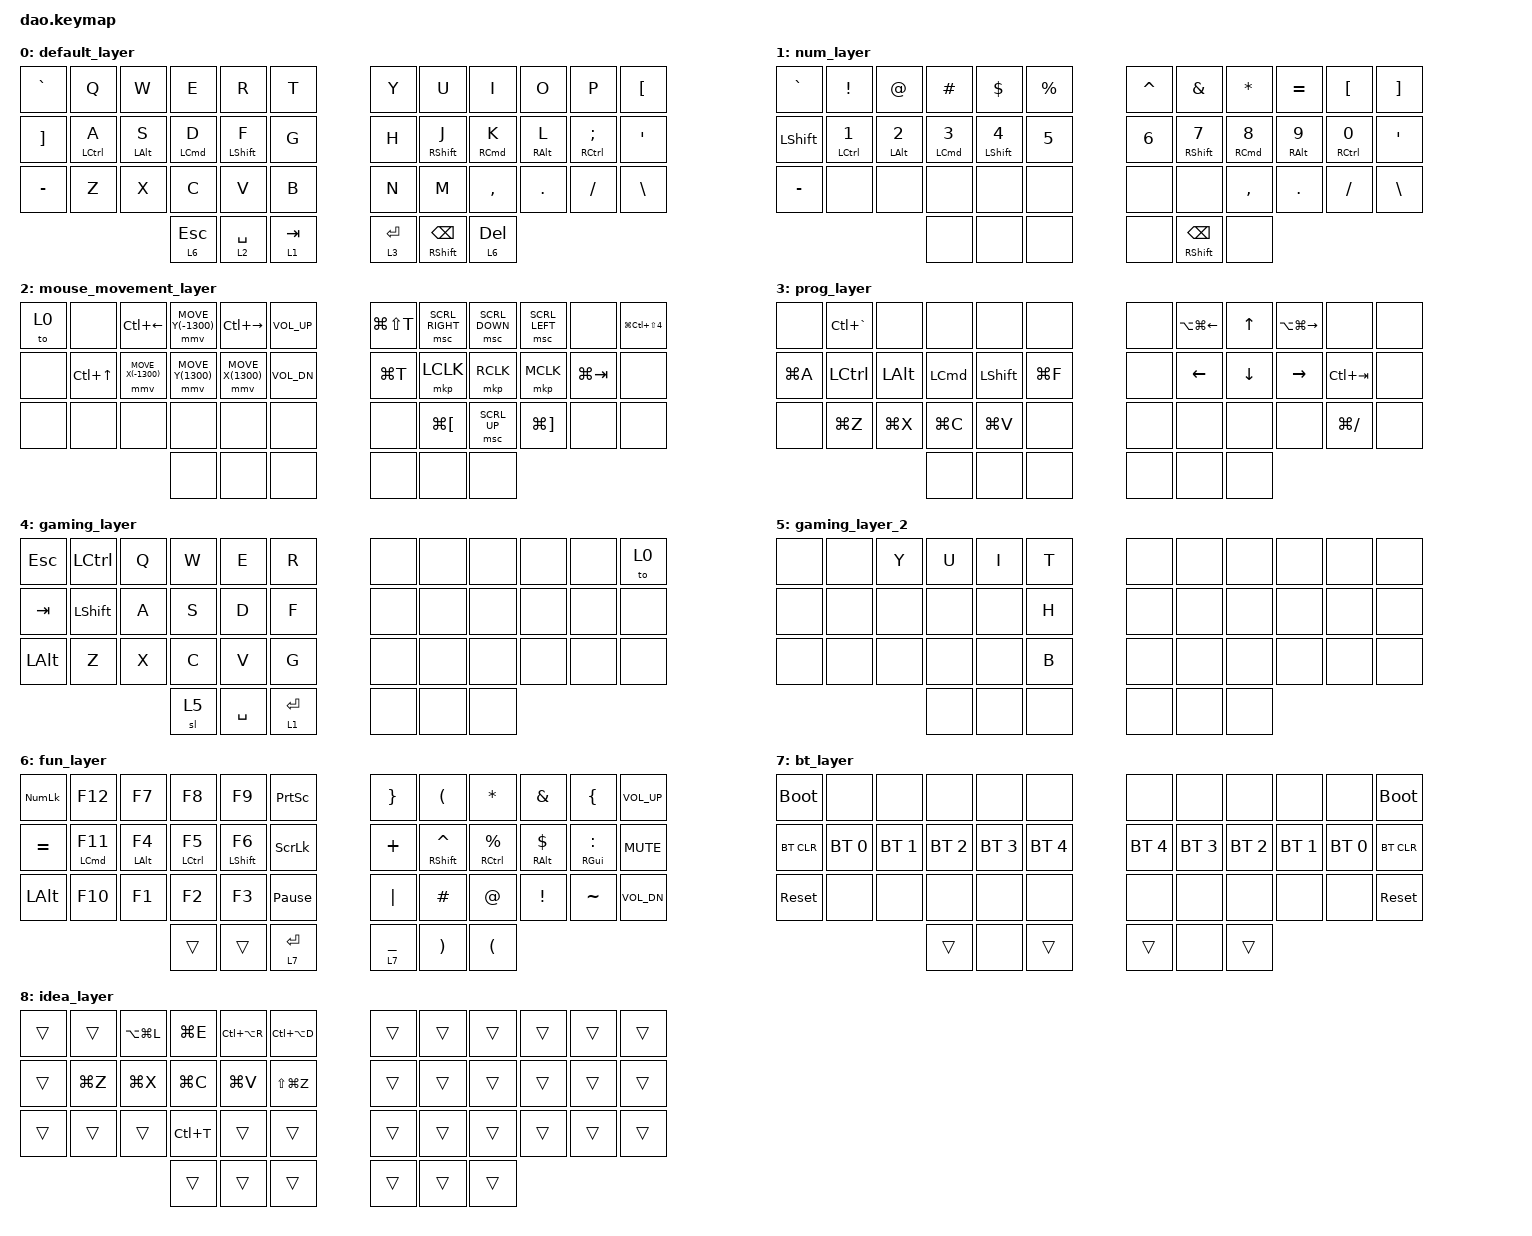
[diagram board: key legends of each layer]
/*
 * Copyright (c) 2021 Rafael Yumagulov
 *
 * SPDX-License-Identifier: MIT
 */

#include <behaviors.dtsi>
#include <dt-bindings/zmk/bt.h>
#include <dt-bindings/zmk/keys.h>
#include <dt-bindings/zmk/pointing.h>

#define DEF 0
#define NUM 1
#define IDEA 2
#define FUN 3
#define BT 4

&lt { quick_tap_ms = <200>; };

&mt {
    quick_tap_ms = <300>;
    flavor = "balanced";
    require-prior-idle-ms = <150>;
    quick-tap-ms = <0>;
};

/ {
    chosen {
        zmk,matrix_transform = &default_transform;

        // zmk,matrix_transform = &extra_keys_transform;
    };
};

/ {
    behaviors {
        td0: tap_dance_0 {
            compatible = "zmk,behavior-tap-dance";
            #binding-cells = <0>;
            tapping-term-ms = <200>;
            bindings = <&mt LSHFT F>, <&dshift>;
        };
    };

    macros {
        dshift: double_shift {
            compatible = "zmk,behavior-macro";
            #binding-cells = <0>;
            bindings = <&macro_tap>, <&kp LSHFT &kp LSHFT>;
        };
    };

    combos {
        compatible = "zmk,combos";

        combo_undo {
            // ZX

            key-positions = <25 26>;
            bindings = <&kp LG(X)>;
        };

        combo_cut {
            // ZC

            key-positions = <25 27>;
            bindings = <&kp LG(Z)>;
        };

        combo_copy {
            // XC

            key-positions = <26 27>;
            bindings = <&kp LG(C)>;
        };

        combo_paste {
            // CV

            key-positions = <27 28>;
            bindings = <&kp LG(V)>;
        };

        combo_alt_backsapce {
            // QW

            key-positions = <1 2>;
            bindings = <&kp LA(BSPC)>;
        };

        combo_backsapce {
            // WE

            key-positions = <2 3>;
            bindings = <&kp BSPC>;
        };

        combo_delete {
            // ER

            key-positions = <3 4>;
            bindings = <&kp DEL>;
        };

        go_to_mouse_layer {
            bindings = <&to 2>;
            key-positions = <0 37>;
        };

        gaming_mode {
            bindings = <&to 4>;
            key-positions = <4 5 6 7>;
        };
    };

    keymap {
        compatible = "zmk,keymap";

        default_layer {
            bindings = <
&kp GRAVE          &kp Q               &kp W       &kp E               &kp R        &kp T      &kp Y      &kp U           &kp I                &kp O       &kp P                   &kp LEFT_BRACKET
&kp RIGHT_BRACKET  &mt LEFT_CONTROL A  &mt LALT S  &mt LEFT_COMMAND D  &mt LSHFT F  &kp G      &kp H      &mt RSHFT J     &mt RIGHT_COMMAND K  &mt RALT L  &mt RIGHT_CONTROL SEMI  &kp APOSTROPHE
&kp MINUS          &kp Z               &kp X       &kp C               &kp V        &kp B      &kp N      &kp M           &kp COMMA            &kp DOT     &kp FSLH                &kp BSLH
                                                   &lt 6 ESC           &lt 2 SPACE  &lt 1 TAB  &lt 3 RET  &mt RSHFT BSPC  &lt 6 DEL
            >;
        };

        num_layer {
            bindings = <
&kp GRAVE       &kp EXCLAMATION            &kp AT_SIGN            &kp HASH                   &kp DOLLAR               &kp PERCENT   &kp CARET     &kp AMPERSAND              &kp ASTERISK                &kp EQUAL               &kp LEFT_BRACKET            &kp RIGHT_BRACKET
&kp LEFT_SHIFT  &mt LEFT_CONTROL NUMBER_1  &mt LEFT_ALT NUMBER_2  &mt LEFT_COMMAND NUMBER_3  &mt LEFT_SHIFT NUMBER_4  &kp NUMBER_5  &kp NUMBER_6  &mt RIGHT_SHIFT NUMBER_7   &mt RIGHT_COMMAND NUMBER_8  &mt RIGHT_ALT NUMBER_9  &mt RIGHT_CONTROL NUMBER_0  &kp APOSTROPHE
&kp MINUS       &none                      &none                  &none                      &none                    &none         &none         &none                      &kp COMMA                   &kp DOT                 &kp SLASH                   &kp BACKSLASH
                                                                  &none                      &none                    &none         &none         &mt RIGHT_SHIFT BACKSPACE  &none
            >;
        };

        mouse_movement_layer {
            bindings = <
&to 0  &none             &kp LC(LEFT_ARROW)  &mmv MOVE_Y(-1300)  &kp LC(RIGHT_ARROW)  &kp C_VOLUME_UP  &kp LG(LS(T))  &msc SCRL_RIGHT       &msc SCRL_DOWN  &msc SCRL_LEFT         &none        &kp LG(LC(LS(NUMBER_4)))
&none  &kp LC(UP_ARROW)  &mmv MOVE_X(-1300)  &mmv MOVE_Y(1300)   &mmv MOVE_X(1300)    &kp C_VOL_DN     &kp LG(T)      &mkp LCLK             &mkp RCLK       &mkp MCLK              &kp LG(TAB)  &none
&none  &none             &none               &none               &none                &none            &none          &kp LG(LEFT_BRACKET)  &msc SCRL_UP    &kp LG(RIGHT_BRACKET)  &none        &none
                                             &none               &none                &none            &none          &none                 &none
            >;
        };

        prog_layer {
            bindings = <
&none      &kp LC(GRAVE)     &none         &none             &none           &none      &none  &kp LA(LG(LEFT_ARROW))  &kp UP_ARROW    &kp LA(LG(RIGHT_ARROW))  &none          &none
&kp LG(A)  &kp LEFT_CONTROL  &kp LEFT_ALT  &kp LEFT_COMMAND  &kp LEFT_SHIFT  &kp LG(F)  &none  &kp LEFT_ARROW          &kp DOWN_ARROW  &kp RIGHT_ARROW          &kp LC(TAB)    &none
&none      &kp LG(Z)         &kp LG(X)     &kp LG(C)         &kp LG(V)       &none      &none  &none                   &none           &none                    &kp LG(SLASH)  &none
                                           &none             &none           &none      &none  &none                   &none
            >;
        };

        gaming_layer {
            bindings = <
&kp ESCAPE    &kp LEFT_CONTROL  &kp Q  &kp W  &kp E      &kp R        &none  &none  &none  &none  &none  &to 0
&kp TAB       &kp LEFT_SHIFT    &kp A  &kp S  &kp D      &kp F        &none  &none  &none  &none  &none  &none
&kp LEFT_ALT  &kp Z             &kp X  &kp C  &kp V      &kp G        &none  &none  &none  &none  &none  &none
                                       &sl 5  &kp SPACE  &lt 1 ENTER  &none  &none  &none
            >;
        };

        gaming_layer_2 {
            bindings = <
&none  &none  &kp Y  &kp U  &kp I  &kp T  &none  &none  &none  &none  &none  &none
&none  &none  &none  &none  &none  &kp H  &none  &none  &none  &none  &none  &none
&none  &none  &none  &none  &none  &kp B  &none  &none  &none  &none  &none  &none
                     &none  &none  &none  &none  &none  &none
            >;
        };

        fun_layer {
            bindings = <
&kp KP_NUM  &kp F12       &kp F7       &kp F8        &kp F9        &kp PSCRN        &kp RBRC     &kp LPAR         &kp STAR         &kp AMPS       &kp LBRC        &kp C_VOL_UP
&kp EQUAL   &mt LCMD F11  &mt LALT F4  &mt LCTRL F5  &mt LSHFT F6  &kp SLCK         &kp PLUS     &mt RSHFT CARET  &mt RCTRL PRCNT  &mt RALT DLLR  &mt RGUI COLON  &kp C_MUTE
&kp LALT    &kp F10       &kp F1       &kp F2        &kp F3        &kp PAUSE_BREAK  &kp PIPE     &kp HASH         &kp AT           &kp EXCL       &kp TILDE       &kp C_VOL_DN
                                       &trans        &trans        &lt 7 RET        &lt 7 UNDER  &kp RPAR         &kp LPAR
            >;
        };

        bt_layer {
            bindings = <
&bootloader  &none         &none         &none         &none         &none         &none         &none         &none         &none         &none         &bootloader
&bt BT_CLR   &bt BT_SEL 0  &bt BT_SEL 1  &bt BT_SEL 2  &bt BT_SEL 3  &bt BT_SEL 4  &bt BT_SEL 4  &bt BT_SEL 3  &bt BT_SEL 2  &bt BT_SEL 1  &bt BT_SEL 0  &bt BT_CLR
&sys_reset   &none         &none         &none         &none         &none         &none         &none         &none         &none         &none         &sys_reset
                                         &trans        &none         &trans        &trans        &none         &trans
            >;
        };

        idea_layer {
            bindings = <
&trans  &trans     &kp LA(LG(L))  &kp LG(E)  &kp LC(LA(R))  &kp LC(LA(D))  &trans  &trans  &trans  &trans  &trans  &trans
&trans  &kp LG(Z)  &kp LG(X)      &kp LG(C)  &kp LG(V)      &kp LS(LG(Z))  &trans  &trans  &trans  &trans  &trans  &trans
&trans  &trans     &trans         &kp LC(T)  &trans         &trans         &trans  &trans  &trans  &trans  &trans  &trans
                                  &trans     &trans         &trans         &trans  &trans  &trans
            >;
        };
    };
};
